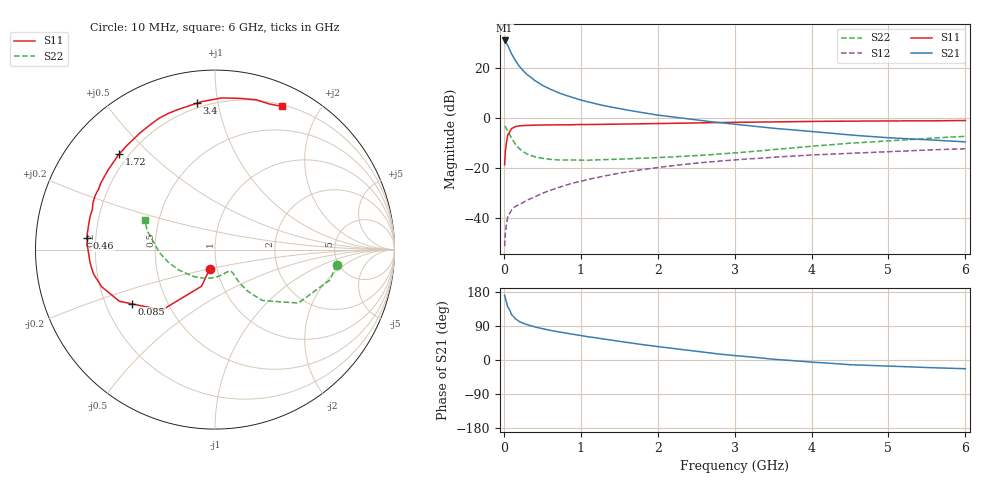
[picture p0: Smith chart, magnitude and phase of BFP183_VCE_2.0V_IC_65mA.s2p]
! Infineon Technologies  Discrete & RF Semiconductors
! BFP183
! VCE = 2.0 V,  IC =  65 mA
! Common Emitter S-Parameters:  Jan 2016
# GHz  S  MA  R  50
!  f  S11  S21  S12  S22
! GHz  MAG  ANG  MAG  ANG  MAG  ANG  MAG  ANG
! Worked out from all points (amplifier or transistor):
!   210 points, 10 MHz to 6 GHz, reference 50 ohm
!   highest |S21| = 30.9 dB at 10 MHz (marker M1)
!   |S21| within 3 dB of that: start of sweep to 66.53 MHz
!   unconditionally stable (mu >= 1): start of sweep to 42.38 MHz; 144.2 MHz to end of sweep
!   at 185 MHz: K = 1.13, MAG = 25.9 dB, |S12| = -34.9 dB
!   at 1.52 GHz: K = 1.83, MAG = 7.5 dB, |S12| = -22.1 dB
!   at 6 GHz: K = 1.43, MAG = -2.5 dB, |S12| = -12.4 dB
!   S11 on the Smith chart (normalised r, x): 10 MHz: 0.92, -0.21; 85 MHz: 0.31, -0.27; 460 MHz: 0.17, +0.05; 1.72 GHz: 0.16, +0.40; 3.4 GHz: 0.17, +0.87; 6 GHz: 0.22, +1.55
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0.01  0.1142 -105.4  35.12 171.0  0.0027 62.1  0.6838 -7.2
0.02  0.2175 -110.2  34.12 162.3  0.005 60.3  0.6615 -14.9
0.05  0.4476 -131.2  28.2 140.3  0.0103 56.7  0.5518 -32.7
0.085  0.5517 -146.7  21.44 127.6  0.013 48.1  0.4332 -41.6
0.1  0.6055 -151.6  19.02 119.6  0.0142 45.4  0.387 -47.1
0.15  0.6648 -161.9  13.86 108.6  0.0169 44.7  0.2939 -51.9
0.2  0.6897 -168.5  10.75 101.7  0.0183 46.7  0.2416 -53.3
0.24  0.6971 -172.4  9.123 98.0  0.0197 47.9  0.2165 -53.5
0.3  0.7029 -177.1  7.349 93.2  0.0224 51.4  0.1883 -53.0
0.4  0.7128 177.6  5.578 87.2  0.0259 54.7  0.1661 -52.6
0.46  0.7147 174.7  4.898 84.7  0.0288 55.9  0.159 -52.9
0.6  0.7174 169.1  3.747 78.3  0.0351 59.2  0.147 -54.4
0.7  0.7202 165.1  3.204 74.6  0.0398 60.7  0.1432 -56.1
1.02  0.732 155.0  2.22 63.8  0.0545 61.8  0.1413 -64.0
1.3  0.738 146.8  1.743 55.2  0.0681 60.9  0.145 -72.9
1.72  0.7541 135.1  1.326 43.0  0.0882 57.6  0.1531 -87.0
2.02  0.7629 127.3  1.12 34.9  0.1019 54.7  0.1602 -97.8
3.1  0.8093 102.9  0.715 10.0  0.147 42.9  0.2034 -137.8
3.4  0.8214 97.2  0.641 4.2  0.1583 39.7  0.2232 -147.5
4.1  0.8465 86.1  0.514 -6.8  0.1827 31.9  0.2763 -167.3
5.1  0.865 73.7  0.391 -16.8  0.2125 22.5  0.3527 171.4
6  0.8805 64.9  0.329 -23.0  0.2394 12.6  0.425 157.5
